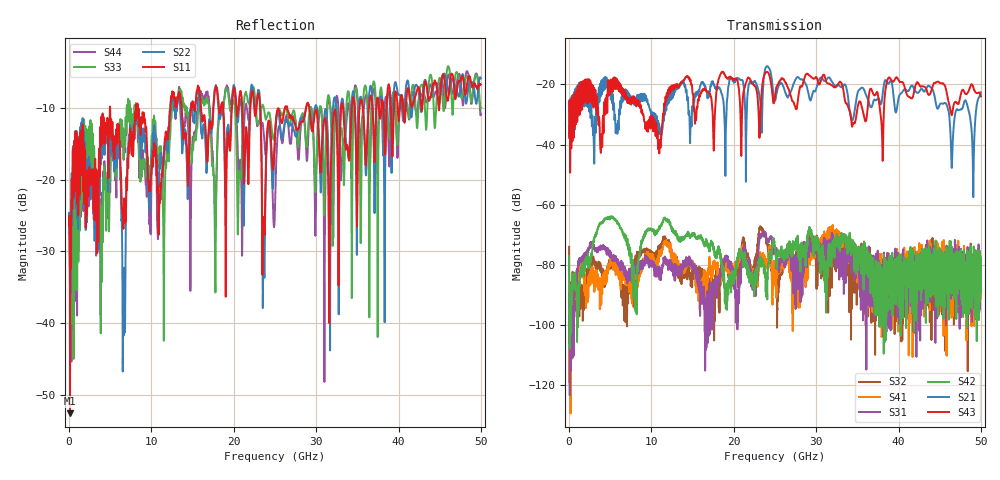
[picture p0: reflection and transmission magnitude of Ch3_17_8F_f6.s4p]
!Agilent Technologies,N5247A,US51170199,A.09.90.13
!Agilent N5247A: A.09.90.13
!Date: Wednesday, December 09, 2015 09:35:03
!Correction: S11(Full 4 Port(1,2,3,4))
!S12(Full 4 Port(1,2,3,4))
!S13(Full 4 Port(1,2,3,4))
!S14(Full 4 Port(1,2,3,4))
!S21(Full 4 Port(1,2,3,4))
!S22(Full 4 Port(1,2,3,4))
!S23(Full 4 Port(1,2,3,4))
!S24(Full 4 Port(1,2,3,4))
!S31(Full 4 Port(1,2,3,4))
!S32(Full 4 Port(1,2,3,4))
!S33(Full 4 Port(1,2,3,4))
!S34(Full 4 Port(1,2,3,4))
!S41(Full 4 Port(1,2,3,4))
!S42(Full 4 Port(1,2,3,4))
!S43(Full 4 Port(1,2,3,4))
!S44(Full 4 Port(1,2,3,4))
!S4P File: Measurements: <S11,S12,S13,S14>,
!<S21,S22,S23,S24>,
!<S31,S32,S33,S34>,
!<S41,S42,S43,S44>:
# Hz S  dB  R 50
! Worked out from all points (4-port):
!   3201 points, 10 MHz to 50 GHz, reference 50 ohm
!   strongest paths, dB at 10 MHz, 12.51 GHz, 25 GHz, 37.5 GHz, 50 GHz:
!     S43: -37.8, -20.4, -23.9, -23.4, -23.9
!     S21: -37.0, -22.5, -25.2, -24.6, -22.6
!     S42: -77.0, -68.7, -74.0, -86.0, -77.9
!     S31: -89.2, -82.1, -75.1, -82.1, -85.0
!     S41: -84.1, -76.8, -82.4, -81.3, -85.9
!     S32: -73.9, -78.6, -81.3, -93.8, -87.4
!   lowest |S11| = -52.6 dB at 119.4 MHz (marker M1), VSWR 1.00, Z = 50 + j0.231 ohm
!   |S11| at or under -10 dB: start of sweep to 4.96 GHz; 8.347 GHz to 12.32 GHz (3.973 GHz wide, 38.4 % of centre); 29.17 GHz to 33.03 GHz (3.857 GHz wide, 12.4 % of centre)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
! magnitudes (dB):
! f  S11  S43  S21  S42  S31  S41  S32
! 10 MHz  -26.4  -37.8  -37.0  -77.0  -89.2  -84.1  -73.9
! 119.4 MHz  -52.6  -34.6  -36.2  -93.8  -95.9  -97.9  -92.6
! 5.118 GHz  -11.6  -22.2  -22.5  -64.1  -77.7  -79.4  -78.7
! 6.649 GHz  -24.3  -24.2  -23.3  -69.7  -82.6  -82.3  -88.2
! 24.08 GHz  -12.9  -15.9  -13.9  -84.2  -72.3  -81.3  -73.2
! 49.05 GHz  -6.8  -20.7  -51.0  -78.7  -76.5  -88.5  -87.2
! 50 GHz  -6.7  -23.9  -22.6  -77.9  -85.0  -85.9  -87.4
